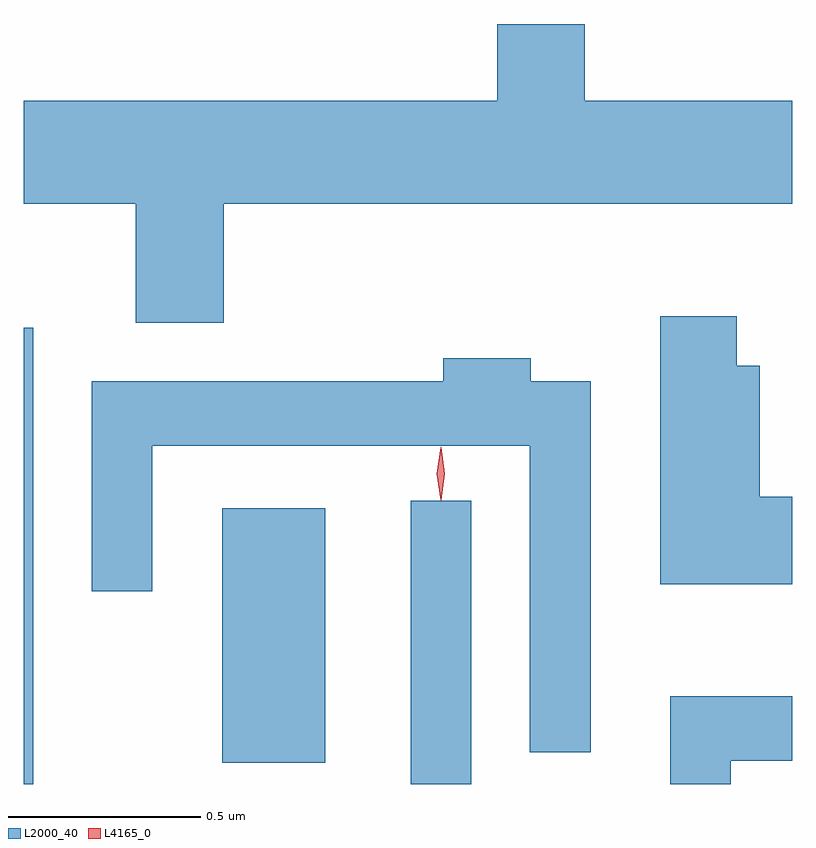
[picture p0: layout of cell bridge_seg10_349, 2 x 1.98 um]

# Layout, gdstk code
import gdstk
lib = gdstk.Library(unit=1e-6, precision=1e-09)
def R(c, l, rs):  # rectangles x0, y0, x1, y1
    for r in rs: c.add(gdstk.rectangle(r[:2], r[2:], *l))
def P(c, l, *ps):  # polygons
    for p in ps: c.add(gdstk.Polygon(p, *l))
L2000_40 = (2000, 40)
L4165_0 = (4165, 0)

bridge_seg10_349 = lib.new_cell('bridge_seg10_349')
R(bridge_seg10_349, L2000_40, [(1444.629,2150.146,1444.654,2151.333), (1445.636,2150.146,1445.794,2150.883), (1445.146,2150.201,1445.414,2150.864)])
P(bridge_seg10_349, L2000_40, [(1445.149,2151.656),(1446.629,2151.656),(1446.629,2151.924),(1446.089,2151.924),(1446.089,2152.124),(1445.861,2152.124),(1445.861,2151.924),(1444.629,2151.924),(1444.629,2151.656),(1444.921,2151.656),(1444.921,2151.346),(1445.149,2151.346)],
  [(1446.629,2150.894),(1446.544,2150.894),(1446.544,2151.234),(1446.484,2151.234),(1446.484,2151.364),(1446.286,2151.364),(1446.286,2150.666),(1446.629,2150.666)],
  [(1446.104,2151.194),(1445.949,2151.194),(1445.949,2151.254),(1445.721,2151.254),(1445.721,2151.194),(1444.806,2151.194),(1444.806,2150.648),(1444.964,2150.648),(1444.964,2151.026),(1445.946,2151.026),(1445.946,2150.228),(1446.104,2150.228)],
  [(1446.469,2150.206),(1446.629,2150.206),(1446.629,2150.374),(1446.311,2150.374),(1446.311,2150.146),(1446.469,2150.146)])
P(bridge_seg10_349, L4165_0, [(1445.714,2150.884),(1445.714,2150.884),(1445.704,2150.954),(1445.714,2151.022),(1445.714,2151.023),(1445.715,2151.022),(1445.724,2150.954),(1445.715,2150.884)])

lib.write_gds('bridge_seg10_349.gds')
